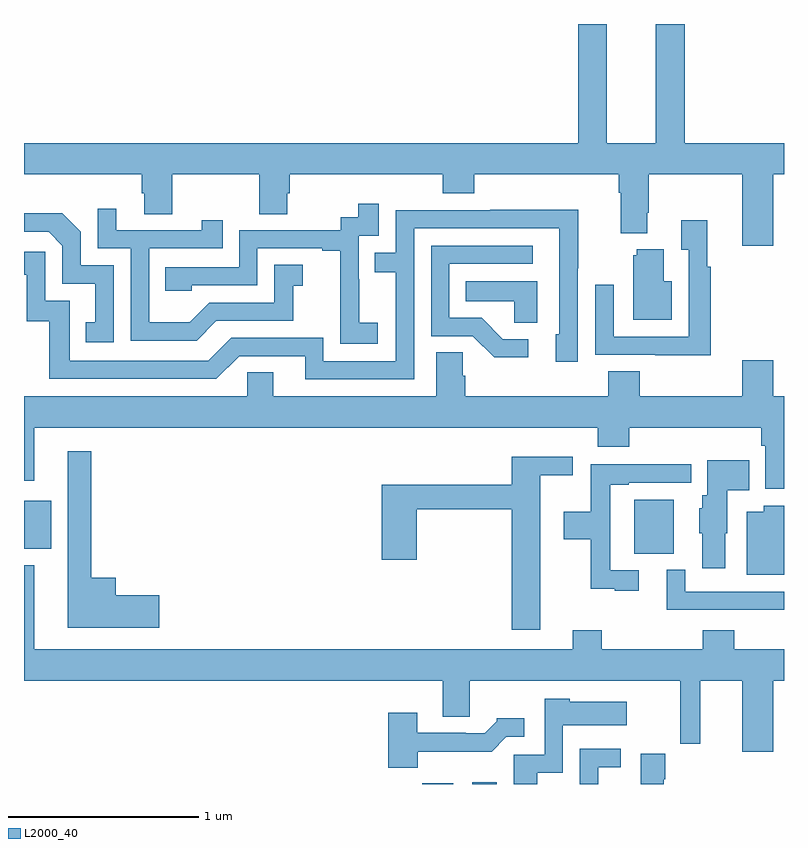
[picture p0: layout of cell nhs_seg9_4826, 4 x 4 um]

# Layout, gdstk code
import gdstk
lib = gdstk.Library(unit=1e-6, precision=1e-09)
def R(c, l, rs):  # rectangles x0, y0, x1, y1
    for r in rs: c.add(gdstk.rectangle(r[:2], r[2:], *l))
def P(c, l, *ps):  # polygons
    for p in ps: c.add(gdstk.Polygon(p, *l))
L2000_40 = (2000, 40)

nhs_seg9_4826 = lib.new_cell('nhs_seg9_4826')
R(nhs_seg9_4826, L2000_40, [(391.096,1238.5,391.258,1238.503), (391.358,1238.5,391.489,1238.509), (392.213,1239.713,392.419,1239.997), (389,1239.737,389.143,1239.991)])
P(nhs_seg9_4826, L2000_40, [(392.944,1241.708),(393,1241.708),(393,1241.872),(392.477,1241.872),(392.477,1242.5),(392.324,1242.5),(392.324,1241.872),(392.068,1241.872),(392.068,1242.5),(391.916,1242.5),(391.916,1241.872),(389,1241.872),(389,1241.708),(389.621,1241.708),(389.621,1241.61),(389.633,1241.61),(389.633,1241.5),(389.781,1241.5),(389.781,1241.708),(390.238,1241.708),(390.238,1241.5),(390.385,1241.5),(390.385,1241.61),(390.398,1241.61),(390.398,1241.708),(391.205,1241.708),(391.205,1241.609),(391.37,1241.609),(391.37,1241.708),(392.129,1241.708),(392.129,1241.612),(392.141,1241.612),(392.141,1241.399),(392.281,1241.399),(392.281,1241.506),(392.289,1241.506),(392.289,1241.708),(392.78,1241.708),(392.78,1241.334),(392.944,1241.334)],
  [(390.862,1240.927),(390.764,1240.927),(390.764,1241.156),(390.762,1241.156),(390.762,1241.385),(390.867,1241.385),(390.867,1241.554),(390.759,1241.554),(390.759,1241.484),(390.666,1241.484),(390.666,1241.415),(390.132,1241.415),(390.132,1241.22),(389.743,1241.22),(389.743,1241.097),(389.883,1241.097),(389.883,1241.124),(390.228,1241.124),(390.228,1241.319),(390.569,1241.319),(390.569,1241.307),(390.665,1241.307),(390.665,1241.023),(390.664,1241.023),(390.664,1240.817),(390.862,1240.817)],
  [(390.013,1240.938),(390.417,1240.938),(390.417,1241.123),(390.466,1241.123),(390.466,1241.233),(390.318,1241.233),(390.318,1241.034),(389.976,1241.034),(389.872,1240.93),(389.658,1240.93),(389.658,1241.319),(390.047,1241.319),(390.047,1241.467),(389.936,1241.467),(389.936,1241.415),(389.485,1241.415),(389.485,1241.527),(389.388,1241.527),(389.388,1241.319),(389.562,1241.319),(389.562,1240.833),(389.908,1240.833)],
  [(391.053,1241.424),(391.818,1241.424),(391.818,1240.866),(391.799,1240.866),(391.799,1240.722),(391.914,1240.722),(391.914,1241.215),(391.917,1241.215),(391.917,1241.522),(391.453,1241.522),(391.453,1241.52),(390.957,1241.52),(390.957,1241.295),(390.847,1241.295),(390.847,1241.194),(390.957,1241.194),(390.957,1240.725),(390.576,1240.725),(390.576,1240.848),(390.09,1240.848),(389.97,1240.728),(389.241,1240.728),(389.241,1241.043),(389.112,1241.043),(389.112,1241.302),(389,1241.302),(389,1241.181),(389.015,1241.181),(389.015,1240.935),(389.133,1240.935),(389.133,1240.632),(390.012,1240.632),(390.132,1240.752),(390.479,1240.752),(390.479,1240.629),(391.053,1240.629)],
  [(389.472,1241.229),(389.298,1241.229),(389.298,1241.406),(389.2,1241.504),(389,1241.504),(389,1241.406),(389.13,1241.406),(389.202,1241.334),(389.202,1241.133),(389.375,1241.133),(389.375,1240.929),(389.326,1240.929),(389.326,1240.824),(389.472,1240.824)],
  [(392.615,1241.222),(392.597,1241.222),(392.597,1241.467),(392.459,1241.467),(392.459,1241.311),(392.499,1241.311),(392.499,1240.854),(392.103,1240.854),(392.103,1241.128),(392.007,1241.128),(392.007,1240.758),(392.323,1240.758),(392.323,1240.757),(392.615,1240.757)],
  [(391.654,1240.842),(391.519,1240.842),(391.408,1240.953),(391.239,1240.953),(391.239,1241.238),(391.678,1241.238),(391.678,1241.334),(391.143,1241.334),(391.143,1240.857),(391.362,1240.857),(391.475,1240.745),(391.654,1240.745)],
  [(392.41,1241.146),(392.368,1241.146),(392.368,1241.314),(392.225,1241.314),(392.225,1241.283),(392.207,1241.283),(392.207,1240.943),(392.41,1240.943)],
  [(391.702,1241.146),(391.324,1241.146),(391.324,1241.042),(391.581,1241.042),(391.581,1240.927),(391.702,1240.927)],
  [(391.322,1240.649),(391.308,1240.649),(391.308,1240.772),(391.169,1240.772),(391.169,1240.54),(390.313,1240.54),(390.313,1240.667),(390.174,1240.667),(390.174,1240.54),(389,1240.54),(389,1240.095),(389.053,1240.095),(389.053,1240.376),(392.021,1240.376),(392.021,1240.274),(392.186,1240.274),(392.186,1240.376),(392.881,1240.376),(392.881,1240.28),(392.901,1240.28),(392.901,1240.053),(393,1240.053),(393,1240.54),(392.944,1240.54),(392.944,1240.729),(392.78,1240.729),(392.78,1240.54),(392.24,1240.54),(392.24,1240.673),(392.075,1240.673),(392.075,1240.54),(391.322,1240.54)],
  [(389.713,1239.494),(389.482,1239.494),(389.482,1239.586),(389.353,1239.586),(389.353,1240.252),(389.231,1240.252),(389.231,1239.323),(389.713,1239.323)],
  [(391.717,1240.124),(391.888,1240.124),(391.888,1240.222),(391.568,1240.222),(391.568,1240.075),(390.884,1240.075),(390.884,1239.681),(391.067,1239.681),(391.067,1239.946),(391.568,1239.946),(391.568,1239.312),(391.717,1239.312)],
  [(392.692,1239.819),(392.701,1239.819),(392.701,1240.046),(392.816,1240.046),(392.816,1240.204),(392.597,1240.204),(392.597,1240.02),(392.57,1240.02),(392.57,1239.951),(392.555,1239.951),(392.555,1239.819),(392.57,1239.819),(392.57,1239.636),(392.692,1239.636)],
  [(392.236,1239.624),(392.085,1239.624),(392.085,1240.074),(392.182,1240.074),(392.182,1240.086),(392.512,1240.086),(392.512,1240.184),(392.269,1240.184),(392.269,1240.182),(391.984,1240.182),(391.984,1239.934),(391.842,1239.934),(391.842,1239.787),(391.984,1239.787),(391.984,1239.527),(392.108,1239.527),(392.108,1239.516),(392.236,1239.516)],
  [(393,1239.964),(392.894,1239.964),(392.894,1239.934),(392.804,1239.934),(392.804,1239.602),(393,1239.602)],
  [(392.944,1239.044),(393,1239.044),(393,1239.208),(392.738,1239.208),(392.738,1239.31),(392.573,1239.31),(392.573,1239.208),(392.042,1239.208),(392.042,1239.31),(391.889,1239.31),(391.889,1239.208),(389.053,1239.208),(389.053,1239.652),(389,1239.652),(389,1239.044),(391.205,1239.044),(391.205,1238.854),(391.345,1238.854),(391.345,1239.044),(392.455,1239.044),(392.455,1238.712),(392.559,1238.712),(392.559,1239.044),(392.78,1239.044),(392.78,1238.67),(392.944,1238.67)],
  [(393,1239.513),(392.481,1239.513),(392.481,1239.628),(392.384,1239.628),(392.384,1239.417),(393,1239.417)],
  [(391.702,1238.558),(391.836,1238.558),(391.836,1238.81),(392.173,1238.81),(392.173,1238.932),(391.872,1238.932),(391.872,1238.95),(391.74,1238.95),(391.74,1238.655),(391.577,1238.655),(391.577,1238.5),(391.702,1238.5)],
  [(391.072,1238.67),(391.461,1238.67),(391.539,1238.748),(391.633,1238.748),(391.633,1238.845),(391.488,1238.845),(391.488,1238.83),(391.424,1238.766),(391.325,1238.766),(391.325,1238.769),(391.069,1238.769),(391.069,1238.875),(390.917,1238.875),(390.917,1238.585),(391.072,1238.585)],
  [(392.022,1238.589),(392.14,1238.589),(392.14,1238.685),(391.926,1238.685),(391.926,1238.5),(392.022,1238.5)],
  [(392.368,1238.524),(392.376,1238.524),(392.376,1238.659),(392.246,1238.659),(392.246,1238.5),(392.368,1238.5)])

lib.write_gds('nhs_seg9_4826.gds')
